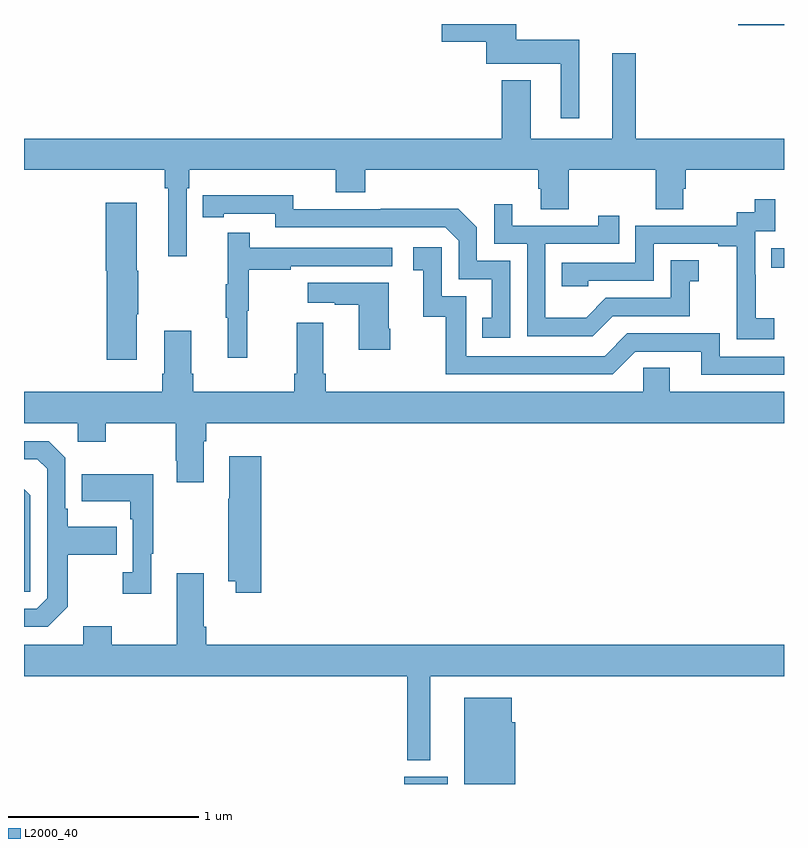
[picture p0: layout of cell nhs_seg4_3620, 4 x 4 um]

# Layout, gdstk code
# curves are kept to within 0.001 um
import gdstk
lib = gdstk.Library(unit=1e-6, precision=1e-09)
def R(c, l, rs):  # rectangles x0, y0, x1, y1
    for r in rs: c.add(gdstk.rectangle(r[:2], r[2:], *l))
def P(c, l, *ps):  # polygons
    for p in ps: c.add(gdstk.Polygon(p, *l))
L2000_40 = (2000, 40)

nhs_seg4_3620 = lib.new_cell('nhs_seg4_3620')
R(nhs_seg4_3620, L2000_40, [(303.002,814.9,303.229,814.939), (304.933,817.618,305,817.719), (304.76,818.894,305,818.9)])
P(nhs_seg4_3620, L2000_40, [(303.922,818.818),(303.592,818.818),(303.592,818.9),(303.198,818.9),(303.198,818.807),(303.434,818.807),(303.434,818.69),(303.824,818.69),(303.824,818.403),(303.922,818.403)],
  [(301.857,818.036),(301.871,818.036),(301.871,818.132),(302.642,818.132),(302.642,818.015),(302.795,818.015),(302.795,818.132),(303.707,818.132),(303.707,818.034),(303.719,818.034),(303.719,817.924),(303.867,817.924),(303.867,818.132),(304.324,818.132),(304.324,817.924),(304.471,817.924),(304.471,818.034),(304.484,818.034),(304.484,818.132),(305,818.132),(305,818.296),(304.219,818.296),(304.219,818.746),(304.097,818.746),(304.097,818.296),(303.667,818.296),(303.667,818.605),(303.515,818.605),(303.515,818.296),(301,818.296),(301,818.132),(301.741,818.132),(301.741,818.036),(301.76,818.036),(301.76,817.677),(301.857,817.677)],
  [(303.558,817.653),(303.384,817.653),(303.384,817.83),(303.286,817.928),(302.878,817.928),(302.878,817.926),(302.418,817.926),(302.418,817.999),(301.942,817.998),(301.942,817.882),(302.05,817.882),(302.05,817.902),(302.322,817.902),(302.322,817.83),(303.216,817.83),(303.288,817.758),(303.288,817.557),(303.461,817.557),(303.461,817.353),(303.412,817.353),(303.412,817.248),(303.558,817.248)],
  [(304.948,817.351),(304.85,817.351),(304.85,817.58),(304.848,817.58),(304.848,817.809),(304.953,817.809),(304.953,817.978),(304.845,817.978),(304.845,817.908),(304.752,817.908),(304.752,817.839),(304.218,817.839),(304.218,817.644),(303.829,817.644),(303.829,817.521),(303.969,817.521),(303.969,817.548),(304.314,817.548),(304.314,817.743),(304.655,817.743),(304.655,817.731),(304.751,817.731),(304.751,817.447),(304.75,817.447),(304.75,817.241),(304.948,817.241)],
  [(301.594,817.372),(301.602,817.372),(301.602,817.602),(301.594,817.602),(301.594,817.96),(301.43,817.96),(301.43,817.602),(301.436,817.602),(301.436,817.134),(301.594,817.134)],
  [(304.099,817.362),(304.503,817.362),(304.503,817.547),(304.552,817.547),(304.552,817.657),(304.404,817.657),(304.404,817.458),(304.062,817.458),(303.958,817.354),(303.744,817.354),(303.744,817.743),(304.133,817.743),(304.133,817.891),(304.022,817.891),(304.022,817.839),(303.571,817.839),(303.571,817.951),(303.474,817.951),(303.474,817.743),(303.648,817.743),(303.648,817.257),(303.994,817.257)],
  [(302.174,817.392),(302.182,817.392),(302.182,817.606),(302.405,817.606),(302.405,817.626),(302.938,817.626),(302.938,817.722),(302.189,817.722),(302.189,817.801),(302.072,817.801),(302.072,817.529),(302.061,817.529),(302.061,817.355),(302.072,817.355),(302.072,817.143),(302.174,817.143)],
  [(305,817.149),(304.662,817.149),(304.662,817.272),(304.176,817.272),(304.056,817.152),(303.327,817.152),(303.327,817.467),(303.198,817.467),(303.198,817.726),(303.048,817.726),(303.048,817.605),(303.101,817.605),(303.101,817.359),(303.219,817.359),(303.219,817.056),(304.098,817.056),(304.218,817.176),(304.565,817.176),(304.565,817.053),(305,817.053)],
  [(302.928,817.297),(302.92,817.297),(302.92,817.537),(302.493,817.537),(302.493,817.433),(302.636,817.433),(302.636,817.423),(302.762,817.423),(302.762,817.185),(302.928,817.185)],
  [(301.945,816.704),(301.958,816.704),(301.958,816.8),(305,816.8),(305,816.964),(304.399,816.964),(304.399,817.091),(304.26,817.091),(304.26,816.964),(302.588,816.964),(302.588,817.06),(302.575,817.06),(302.575,817.327),(302.435,817.327),(302.435,817.06),(302.423,817.06),(302.423,816.964),(301.892,816.964),(301.892,817.06),(301.879,817.06),(301.879,817.285),(301.739,817.285),(301.739,817.06),(301.727,817.06),(301.727,816.964),(301,816.964),(301,816.8),(301.284,816.8),(301.284,816.701),(301.431,816.701),(301.431,816.8),(301.798,816.8),(301.798,816.601),(301.805,816.601),(301.805,816.489),(301.945,816.489)],
  [(301.231,815.833),(301.231,816.106),(301.487,816.106),(301.487,816.253),(301.231,816.253),(301.231,816.349),(301.218,816.349),(301.218,816.618),(301.131,816.705),(301,816.705),(301,816.609),(301.071,816.609),(301.122,816.558),(301.122,815.877),(301.068,815.823),(301,815.823),(301,815.727),(301.125,815.727)],
  [(302.249,816.625),(302.081,816.625),(302.081,816.401),(302.074,816.401),(302.074,815.966),(302.114,815.966),(302.114,815.907),(302.249,815.907)],
  [(301.669,816.113),(301.681,816.113),(301.681,816.529),(301.303,816.529),(301.303,816.389),(301.56,816.389),(301.56,816.293),(301.572,816.293),(301.572,816.014),(301.521,816.014),(301.521,815.901),(301.669,815.901)],
  [(301.032,816.42),(301,816.452),(301,815.913),(301.032,815.913)],
  [(303.139,815.468),(305,815.468),(305,815.632),(301.958,815.632),(301.958,815.728),(301.945,815.728),(301.945,816.01),(301.805,816.01),(301.805,815.632),(301.461,815.632),(301.461,815.731),(301.313,815.731),(301.313,815.632),(301,815.632),(301,815.468),(303.018,815.468),(303.018,815.024),(303.139,815.024)],
  [(303.586,815.226),(303.568,815.226),(303.568,815.353),(303.317,815.353),(303.317,814.9),(303.586,814.9)])

lib.write_gds('nhs_seg4_3620.gds')
